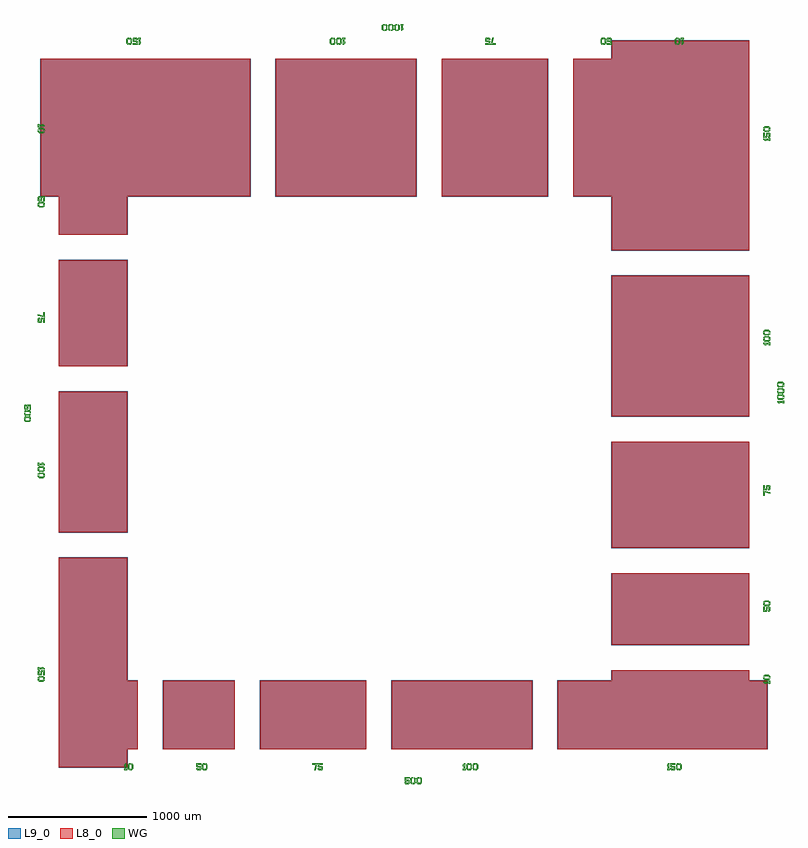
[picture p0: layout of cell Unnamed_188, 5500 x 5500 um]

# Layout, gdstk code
from math import pi, radians
import gdstk
lib = gdstk.Library(unit=1e-6, precision=1e-09)
def R(c, l, rs):  # rectangles x0, y0, x1, y1
    for r in rs: c.add(gdstk.rectangle(r[:2], r[2:], *l))
def P(c, l, *ps):  # polygons
    for p in ps: c.add(gdstk.Polygon(p, *l))
WG = (1, 0)
L8_0 = (8, 0)
L9_0 = (9, 0)

unnamed_187 = lib.new_cell('Unnamed_187')

unnamed_186 = lib.new_cell('Unnamed_186')

unnamed_184 = lib.new_cell('Unnamed_184')

unnamed_183 = lib.new_cell('Unnamed_183')

unnamed_182 = lib.new_cell('Unnamed_182')

text_t1000_s50_p0_0_jlef = lib.new_cell('text_T1000_S50_P0_0_Jleft_L1_0')
P(text_t1000_s50_p0_0_jlef, WG, [(48.5,0),(51,10),(55,10),(60,15),(60,35),(55,40),(57.5,50),(60,50),(70,40),(70,10),(60,0)],
  [(93.5,0),(96,10),(100,10),(105,15),(105,35),(100,40),(102.5,50),(105,50),(115,40),(115,10),(105,0)],
  [(138.5,0),(141,10),(145,10),(150,15),(150,35),(145,40),(147.5,50),(150,50),(160,40),(160,10),(150,0)],
  [(40,0),(30,10),(30,40),(40,50),(51.5,50),(49,40),(45,40),(40,35),(40,15),(45,10),(42.5,0)],
  [(85,0),(75,10),(75,40),(85,50),(96.5,50),(94,40),(90,40),(85,35),(85,15),(90,10),(87.5,0)],
  [(130,0),(120,10),(120,40),(130,50),(141.5,50),(139,40),(135,40),(130,35),(130,15),(135,10),(132.5,0)],
  [(5,0),(5,10),(10,10),(10,30),(5,30),(5,40),(15,50),(20,50),(20,10),(25,10),(25,0)])

rectangle_s1022_1000_l9_ = lib.new_cell('rectangle_S1022_1000_L9_34ee5ec5')
R(rectangle_s1022_1000_l9_, L9_0, [(0,0,1022,1000)])

text_t100_s50_p0_0_jleft = lib.new_cell('text_T100_S50_P0_0_Jleft_L1_0')
P(text_t100_s50_p0_0_jleft, WG, [(48.5,0),(51,10),(55,10),(60,15),(60,35),(55,40),(57.5,50),(60,50),(70,40),(70,10),(60,0)],
  [(93.5,0),(96,10),(100,10),(105,15),(105,35),(100,40),(102.5,50),(105,50),(115,40),(115,10),(105,0)],
  [(40,0),(30,10),(30,40),(40,50),(51.5,50),(49,40),(45,40),(40,35),(40,15),(45,10),(42.5,0)],
  [(85,0),(75,10),(75,40),(85,50),(96.5,50),(94,40),(90,40),(85,35),(85,15),(90,10),(87.5,0)],
  [(5,0),(5,10),(10,10),(10,30),(5,30),(5,40),(15,50),(20,50),(20,10),(25,10),(25,0)])

rectangle_s100_998_l8_0_ = lib.new_cell('rectangle_S100_998_L8_0_c306aa22')
R(rectangle_s100_998_l8_0_, L8_0, [(0,0,100,998)])

unnamed_175 = lib.new_cell('Unnamed_175')
unnamed_175.add(gdstk.Reference(rectangle_s1022_1000_l9_, (-47.455,0)))
unnamed_175.add(gdstk.Reference(text_t100_s50_p0_0_jleft, (465.545,-150)))
unnamed_175.add(gdstk.Reference(rectangle_s100_998_l8_0_, (-45.455,0)))
unnamed_175.add(gdstk.Reference(rectangle_s100_998_l8_0_, (56.545,0)))
unnamed_175.add(gdstk.Reference(rectangle_s100_998_l8_0_, (158.545,0)))
unnamed_175.add(gdstk.Reference(rectangle_s100_998_l8_0_, (260.545,0)))
unnamed_175.add(gdstk.Reference(rectangle_s100_998_l8_0_, (362.545,0)))
unnamed_175.add(gdstk.Reference(rectangle_s100_998_l8_0_, (464.545,0)))
unnamed_175.add(gdstk.Reference(rectangle_s100_998_l8_0_, (566.545,0)))
unnamed_175.add(gdstk.Reference(rectangle_s100_998_l8_0_, (668.545,0)))
unnamed_175.add(gdstk.Reference(rectangle_s100_998_l8_0_, (770.545,0)))
unnamed_175.add(gdstk.Reference(rectangle_s100_998_l8_0_, (872.545,0)))

rectangle_s1522_1000_l9_ = lib.new_cell('rectangle_S1522_1000_L9_b6fc3a18')
R(rectangle_s1522_1000_l9_, L9_0, [(0,0,1522,1000)])

text_t150_s50_p0_0_jleft = lib.new_cell('text_T150_S50_P0_0_Jleft_L1_0')
P(text_t150_s50_p0_0_jleft, WG, [(88.5,0),(91,10),(95,10),(100,15),(100,35),(95,40),(97.5,50),(100,50),(110,40),(110,10),(100,0)],
  [(80,0),(70,10),(70,40),(80,50),(91.5,50),(89,40),(85,40),(80,35),(80,15),(85,10),(82.5,0)],
  [(35,0),(30,5),(30,15),(40,15),(40,10),(55,10),(55,20),(35,20),(30,25),(30,50),(65,50),(65,40),(40,40),(40,30),(60,30),(65,25),(65,5),(60,0)],
  [(5,0),(5,10),(10,10),(10,30),(5,30),(5,40),(15,50),(20,50),(20,10),(25,10),(25,0)])

rectangle_s150_998_l8_0_ = lib.new_cell('rectangle_S150_998_L8_0_cd40ac17')
R(rectangle_s150_998_l8_0_, L8_0, [(0,0,150,998)])

unnamed_176 = lib.new_cell('Unnamed_176')
unnamed_176.add(gdstk.Reference(rectangle_s1522_1000_l9_, (-47.455,0)))
unnamed_176.add(gdstk.Reference(text_t150_s50_p0_0_jleft, (740.545,-150)))
unnamed_176.add(gdstk.Reference(rectangle_s150_998_l8_0_, (-45.455,0)))
unnamed_176.add(gdstk.Reference(rectangle_s150_998_l8_0_, (106.545,0)))
unnamed_176.add(gdstk.Reference(rectangle_s150_998_l8_0_, (258.545,0)))
unnamed_176.add(gdstk.Reference(rectangle_s150_998_l8_0_, (410.545,0)))
unnamed_176.add(gdstk.Reference(rectangle_s150_998_l8_0_, (562.545,0)))
unnamed_176.add(gdstk.Reference(rectangle_s150_998_l8_0_, (714.545,0)))
unnamed_176.add(gdstk.Reference(rectangle_s150_998_l8_0_, (866.545,0)))
unnamed_176.add(gdstk.Reference(rectangle_s150_998_l8_0_, (1018.545,0)))
unnamed_176.add(gdstk.Reference(rectangle_s150_998_l8_0_, (1170.545,0)))
unnamed_176.add(gdstk.Reference(rectangle_s150_998_l8_0_, (1322.545,0)))

rectangle_s772_1000_l9__ = lib.new_cell('rectangle_S772_1000_L9__6c6e360b')
R(rectangle_s772_1000_l9__, L9_0, [(0,0,772,1000)])

text_t75_s50_p0_0_jleft_ = lib.new_cell('text_T75_S50_P0_0_Jleft_L1_0')
P(text_t75_s50_p0_0_jleft_, WG, [(50,0),(45,5),(45,15),(55,15),(55,10),(70,10),(70,20),(50,20),(45,25),(45,50),(80,50),(80,40),(55,40),(55,30),(75,30),(80,25),(80,5),(75,0)],
  [(20,0),(28,40),(5,40),(5,50),(40,50),(30,0)])

rectangle_s75_998_l8_0__ = lib.new_cell('rectangle_S75_998_L8_0__cc8ebacf')
R(rectangle_s75_998_l8_0__, L8_0, [(0,0,75,998)])

unnamed_174 = lib.new_cell('Unnamed_174')
unnamed_174.add(gdstk.Reference(rectangle_s772_1000_l9__, (-47.455,0)))
unnamed_174.add(gdstk.Reference(text_t75_s50_p0_0_jleft_, (328.045,-150)))
unnamed_174.add(gdstk.Reference(rectangle_s75_998_l8_0__, (-45.455,0)))
unnamed_174.add(gdstk.Reference(rectangle_s75_998_l8_0__, (31.545,0)))
unnamed_174.add(gdstk.Reference(rectangle_s75_998_l8_0__, (108.545,0)))
unnamed_174.add(gdstk.Reference(rectangle_s75_998_l8_0__, (185.545,0)))
unnamed_174.add(gdstk.Reference(rectangle_s75_998_l8_0__, (262.545,0)))
unnamed_174.add(gdstk.Reference(rectangle_s75_998_l8_0__, (339.545,0)))
unnamed_174.add(gdstk.Reference(rectangle_s75_998_l8_0__, (416.545,0)))
unnamed_174.add(gdstk.Reference(rectangle_s75_998_l8_0__, (493.545,0)))
unnamed_174.add(gdstk.Reference(rectangle_s75_998_l8_0__, (570.545,0)))
unnamed_174.add(gdstk.Reference(rectangle_s75_998_l8_0__, (647.545,0)))

rectangle_s522_1000_l9__ = lib.new_cell('rectangle_S522_1000_L9__e8a8a2df')
R(rectangle_s522_1000_l9__, L9_0, [(0,0,522,1000)])

text_t50_s50_p0_0_jleft_ = lib.new_cell('text_T50_S50_P0_0_Jleft_L1_0')
P(text_t50_s50_p0_0_jleft_, WG, [(63.5,0),(66,10),(70,10),(75,15),(75,35),(70,40),(72.5,50),(75,50),(85,40),(85,10),(75,0)],
  [(55,0),(45,10),(45,40),(55,50),(66.5,50),(64,40),(60,40),(55,35),(55,15),(60,10),(57.5,0)],
  [(10,0),(5,5),(5,15),(15,15),(15,10),(30,10),(30,20),(10,20),(5,25),(5,50),(40,50),(40,40),(15,40),(15,30),(35,30),(40,25),(40,5),(35,0)])

rectangle_s50_998_l8_0__ = lib.new_cell('rectangle_S50_998_L8_0__a3cc393b')
R(rectangle_s50_998_l8_0__, L8_0, [(0,0,50,998)])

unnamed_173 = lib.new_cell('Unnamed_173')
unnamed_173.add(gdstk.Reference(rectangle_s522_1000_l9__, (-47.455,0)))
unnamed_173.add(gdstk.Reference(text_t50_s50_p0_0_jleft_, (190.545,-150)))
unnamed_173.add(gdstk.Reference(rectangle_s50_998_l8_0__, (-45.455,0)))
unnamed_173.add(gdstk.Reference(rectangle_s50_998_l8_0__, (6.545,0)))
unnamed_173.add(gdstk.Reference(rectangle_s50_998_l8_0__, (58.545,0)))
unnamed_173.add(gdstk.Reference(rectangle_s50_998_l8_0__, (110.545,0)))
unnamed_173.add(gdstk.Reference(rectangle_s50_998_l8_0__, (162.545,0)))
unnamed_173.add(gdstk.Reference(rectangle_s50_998_l8_0__, (214.545,0)))
unnamed_173.add(gdstk.Reference(rectangle_s50_998_l8_0__, (266.545,0)))
unnamed_173.add(gdstk.Reference(rectangle_s50_998_l8_0__, (318.545,0)))
unnamed_173.add(gdstk.Reference(rectangle_s50_998_l8_0__, (370.545,0)))
unnamed_173.add(gdstk.Reference(rectangle_s50_998_l8_0__, (422.545,0)))

rectangle_s122_1000_l9__ = lib.new_cell('rectangle_S122_1000_L9__1de77251')
R(rectangle_s122_1000_l9__, L9_0, [(0,0,122,1000)])

text_t10_s50_p0_0_jleft_ = lib.new_cell('text_T10_S50_P0_0_Jleft_L1_0')
P(text_t10_s50_p0_0_jleft_, WG, [(48.5,0),(51,10),(55,10),(60,15),(60,35),(55,40),(57.5,50),(60,50),(70,40),(70,10),(60,0)],
  [(40,0),(30,10),(30,40),(40,50),(51.5,50),(49,40),(45,40),(40,35),(40,15),(45,10),(42.5,0)],
  [(5,0),(5,10),(10,10),(10,30),(5,30),(5,40),(15,50),(20,50),(20,10),(25,10),(25,0)])

rectangle_s10_998_l8_0__ = lib.new_cell('rectangle_S10_998_L8_0__618c10ad')
R(rectangle_s10_998_l8_0__, L8_0, [(0,0,10,998)])

unnamed_172 = lib.new_cell('Unnamed_172')
unnamed_172.add(gdstk.Reference(rectangle_s122_1000_l9__, (-47.455,0)))
unnamed_172.add(gdstk.Reference(text_t10_s50_p0_0_jleft_, (-29.455,-150)))
unnamed_172.add(gdstk.Reference(rectangle_s10_998_l8_0__, (-45.455,0)))
unnamed_172.add(gdstk.Reference(rectangle_s10_998_l8_0__, (-33.455,0)))
unnamed_172.add(gdstk.Reference(rectangle_s10_998_l8_0__, (-21.455,0)))
unnamed_172.add(gdstk.Reference(rectangle_s10_998_l8_0__, (-9.455,0)))
unnamed_172.add(gdstk.Reference(rectangle_s10_998_l8_0__, (2.545,0)))
unnamed_172.add(gdstk.Reference(rectangle_s10_998_l8_0__, (14.545,0)))
unnamed_172.add(gdstk.Reference(rectangle_s10_998_l8_0__, (26.545,0)))
unnamed_172.add(gdstk.Reference(rectangle_s10_998_l8_0__, (38.545,0)))
unnamed_172.add(gdstk.Reference(rectangle_s10_998_l8_0__, (50.545,0)))
unnamed_172.add(gdstk.Reference(rectangle_s10_998_l8_0__, (62.545,0)))

unnamed_180 = lib.new_cell('Unnamed_180')
unnamed_180.add(gdstk.Reference(text_t1000_s50_p0_0_jlef, (2500,-250)))
unnamed_180.add(gdstk.Reference(unnamed_175, (2456,0)))
unnamed_180.add(gdstk.Reference(unnamed_176, (3658,0)))
unnamed_180.add(gdstk.Reference(unnamed_174, (1504,0)))
unnamed_180.add(gdstk.Reference(unnamed_173, (802,0)))
unnamed_180.add(gdstk.Reference(unnamed_172, (500,0)))

unnamed_166 = lib.new_cell('Unnamed_166')
unnamed_166.add(gdstk.Reference(rectangle_s1522_1000_l9_, (-47.455,0)))
unnamed_166.add(gdstk.Reference(text_t150_s50_p0_0_jleft, (740.545,-150)))
unnamed_166.add(gdstk.Reference(rectangle_s150_998_l8_0_, (-45.455,0)))
unnamed_166.add(gdstk.Reference(rectangle_s150_998_l8_0_, (106.545,0)))
unnamed_166.add(gdstk.Reference(rectangle_s150_998_l8_0_, (258.545,0)))
unnamed_166.add(gdstk.Reference(rectangle_s150_998_l8_0_, (410.545,0)))
unnamed_166.add(gdstk.Reference(rectangle_s150_998_l8_0_, (562.545,0)))
unnamed_166.add(gdstk.Reference(rectangle_s150_998_l8_0_, (714.545,0)))
unnamed_166.add(gdstk.Reference(rectangle_s150_998_l8_0_, (866.545,0)))
unnamed_166.add(gdstk.Reference(rectangle_s150_998_l8_0_, (1018.545,0)))
unnamed_166.add(gdstk.Reference(rectangle_s150_998_l8_0_, (1170.545,0)))
unnamed_166.add(gdstk.Reference(rectangle_s150_998_l8_0_, (1322.545,0)))

unnamed_165 = lib.new_cell('Unnamed_165')
unnamed_165.add(gdstk.Reference(rectangle_s1022_1000_l9_, (-47.455,0)))
unnamed_165.add(gdstk.Reference(text_t100_s50_p0_0_jleft, (465.545,-150)))
unnamed_165.add(gdstk.Reference(rectangle_s100_998_l8_0_, (-45.455,0)))
unnamed_165.add(gdstk.Reference(rectangle_s100_998_l8_0_, (56.545,0)))
unnamed_165.add(gdstk.Reference(rectangle_s100_998_l8_0_, (158.545,0)))
unnamed_165.add(gdstk.Reference(rectangle_s100_998_l8_0_, (260.545,0)))
unnamed_165.add(gdstk.Reference(rectangle_s100_998_l8_0_, (362.545,0)))
unnamed_165.add(gdstk.Reference(rectangle_s100_998_l8_0_, (464.545,0)))
unnamed_165.add(gdstk.Reference(rectangle_s100_998_l8_0_, (566.545,0)))
unnamed_165.add(gdstk.Reference(rectangle_s100_998_l8_0_, (668.545,0)))
unnamed_165.add(gdstk.Reference(rectangle_s100_998_l8_0_, (770.545,0)))
unnamed_165.add(gdstk.Reference(rectangle_s100_998_l8_0_, (872.545,0)))

unnamed_164 = lib.new_cell('Unnamed_164')
unnamed_164.add(gdstk.Reference(rectangle_s772_1000_l9__, (-47.455,0)))
unnamed_164.add(gdstk.Reference(text_t75_s50_p0_0_jleft_, (328.045,-150)))
unnamed_164.add(gdstk.Reference(rectangle_s75_998_l8_0__, (-45.455,0)))
unnamed_164.add(gdstk.Reference(rectangle_s75_998_l8_0__, (31.545,0)))
unnamed_164.add(gdstk.Reference(rectangle_s75_998_l8_0__, (108.545,0)))
unnamed_164.add(gdstk.Reference(rectangle_s75_998_l8_0__, (185.545,0)))
unnamed_164.add(gdstk.Reference(rectangle_s75_998_l8_0__, (262.545,0)))
unnamed_164.add(gdstk.Reference(rectangle_s75_998_l8_0__, (339.545,0)))
unnamed_164.add(gdstk.Reference(rectangle_s75_998_l8_0__, (416.545,0)))
unnamed_164.add(gdstk.Reference(rectangle_s75_998_l8_0__, (493.545,0)))
unnamed_164.add(gdstk.Reference(rectangle_s75_998_l8_0__, (570.545,0)))
unnamed_164.add(gdstk.Reference(rectangle_s75_998_l8_0__, (647.545,0)))

unnamed_163 = lib.new_cell('Unnamed_163')
unnamed_163.add(gdstk.Reference(rectangle_s522_1000_l9__, (-47.455,0)))
unnamed_163.add(gdstk.Reference(text_t50_s50_p0_0_jleft_, (190.545,-150)))
unnamed_163.add(gdstk.Reference(rectangle_s50_998_l8_0__, (-45.455,0)))
unnamed_163.add(gdstk.Reference(rectangle_s50_998_l8_0__, (6.545,0)))
unnamed_163.add(gdstk.Reference(rectangle_s50_998_l8_0__, (58.545,0)))
unnamed_163.add(gdstk.Reference(rectangle_s50_998_l8_0__, (110.545,0)))
unnamed_163.add(gdstk.Reference(rectangle_s50_998_l8_0__, (162.545,0)))
unnamed_163.add(gdstk.Reference(rectangle_s50_998_l8_0__, (214.545,0)))
unnamed_163.add(gdstk.Reference(rectangle_s50_998_l8_0__, (266.545,0)))
unnamed_163.add(gdstk.Reference(rectangle_s50_998_l8_0__, (318.545,0)))
unnamed_163.add(gdstk.Reference(rectangle_s50_998_l8_0__, (370.545,0)))
unnamed_163.add(gdstk.Reference(rectangle_s50_998_l8_0__, (422.545,0)))

unnamed_162 = lib.new_cell('Unnamed_162')
unnamed_162.add(gdstk.Reference(rectangle_s122_1000_l9__, (-47.455,0)))
unnamed_162.add(gdstk.Reference(text_t10_s50_p0_0_jleft_, (-29.455,-150)))
unnamed_162.add(gdstk.Reference(rectangle_s10_998_l8_0__, (-45.455,0)))
unnamed_162.add(gdstk.Reference(rectangle_s10_998_l8_0__, (-33.455,0)))
unnamed_162.add(gdstk.Reference(rectangle_s10_998_l8_0__, (-21.455,0)))
unnamed_162.add(gdstk.Reference(rectangle_s10_998_l8_0__, (-9.455,0)))
unnamed_162.add(gdstk.Reference(rectangle_s10_998_l8_0__, (2.545,0)))
unnamed_162.add(gdstk.Reference(rectangle_s10_998_l8_0__, (14.545,0)))
unnamed_162.add(gdstk.Reference(rectangle_s10_998_l8_0__, (26.545,0)))
unnamed_162.add(gdstk.Reference(rectangle_s10_998_l8_0__, (38.545,0)))
unnamed_162.add(gdstk.Reference(rectangle_s10_998_l8_0__, (50.545,0)))
unnamed_162.add(gdstk.Reference(rectangle_s10_998_l8_0__, (62.545,0)))

unnamed_178 = lib.new_cell('Unnamed_178')
unnamed_178.add(gdstk.Reference(unnamed_166, (3658,0)))
unnamed_178.add(gdstk.Reference(text_t1000_s50_p0_0_jlef, (2500,-250)))
unnamed_178.add(gdstk.Reference(unnamed_165, (2456,0)))
unnamed_178.add(gdstk.Reference(unnamed_164, (1504,0)))
unnamed_178.add(gdstk.Reference(unnamed_163, (802,0)))
unnamed_178.add(gdstk.Reference(unnamed_162, (500,0)))

unnamed_181 = lib.new_cell('Unnamed_181')

unnamed_185 = lib.new_cell('Unnamed_185')

rectangle_s1522_500_l9__ = lib.new_cell('rectangle_S1522_500_L9__e665eb4e')
R(rectangle_s1522_500_l9__, L9_0, [(0,0,1522,500)])

rectangle_s150_498_l8_0_ = lib.new_cell('rectangle_S150_498_L8_0_3344f8a4')
R(rectangle_s150_498_l8_0_, L8_0, [(0,0,150,498)])

unnamed_171 = lib.new_cell('Unnamed_171')
unnamed_171.add(gdstk.Reference(rectangle_s1522_500_l9__, (-47.455,0)))
unnamed_171.add(gdstk.Reference(text_t150_s50_p0_0_jleft, (740.545,-150)))
unnamed_171.add(gdstk.Reference(rectangle_s150_498_l8_0_, (-45.455,0)))
unnamed_171.add(gdstk.Reference(rectangle_s150_498_l8_0_, (106.545,0)))
unnamed_171.add(gdstk.Reference(rectangle_s150_498_l8_0_, (258.545,0)))
unnamed_171.add(gdstk.Reference(rectangle_s150_498_l8_0_, (410.545,0)))
unnamed_171.add(gdstk.Reference(rectangle_s150_498_l8_0_, (562.545,0)))
unnamed_171.add(gdstk.Reference(rectangle_s150_498_l8_0_, (714.545,0)))
unnamed_171.add(gdstk.Reference(rectangle_s150_498_l8_0_, (866.545,0)))
unnamed_171.add(gdstk.Reference(rectangle_s150_498_l8_0_, (1018.545,0)))
unnamed_171.add(gdstk.Reference(rectangle_s150_498_l8_0_, (1170.545,0)))
unnamed_171.add(gdstk.Reference(rectangle_s150_498_l8_0_, (1322.545,0)))

rectangle_s1022_500_l9__ = lib.new_cell('rectangle_S1022_500_L9__7b66dc4e')
R(rectangle_s1022_500_l9__, L9_0, [(0,0,1022,500)])

rectangle_s100_498_l8_0_ = lib.new_cell('rectangle_S100_498_L8_0_8e44272a')
R(rectangle_s100_498_l8_0_, L8_0, [(0,0,100,498)])

unnamed_170 = lib.new_cell('Unnamed_170')
unnamed_170.add(gdstk.Reference(rectangle_s1022_500_l9__, (-47.455,0)))
unnamed_170.add(gdstk.Reference(text_t100_s50_p0_0_jleft, (465.545,-150)))
unnamed_170.add(gdstk.Reference(rectangle_s100_498_l8_0_, (-45.455,0)))
unnamed_170.add(gdstk.Reference(rectangle_s100_498_l8_0_, (56.545,0)))
unnamed_170.add(gdstk.Reference(rectangle_s100_498_l8_0_, (158.545,0)))
unnamed_170.add(gdstk.Reference(rectangle_s100_498_l8_0_, (260.545,0)))
unnamed_170.add(gdstk.Reference(rectangle_s100_498_l8_0_, (362.545,0)))
unnamed_170.add(gdstk.Reference(rectangle_s100_498_l8_0_, (464.545,0)))
unnamed_170.add(gdstk.Reference(rectangle_s100_498_l8_0_, (566.545,0)))
unnamed_170.add(gdstk.Reference(rectangle_s100_498_l8_0_, (668.545,0)))
unnamed_170.add(gdstk.Reference(rectangle_s100_498_l8_0_, (770.545,0)))
unnamed_170.add(gdstk.Reference(rectangle_s100_498_l8_0_, (872.545,0)))

text_t500_s50_p0_0_jleft = lib.new_cell('text_T500_S50_P0_0_Jleft_L1_0')
P(text_t500_s50_p0_0_jleft, WG, [(63.5,0),(66,10),(70,10),(75,15),(75,35),(70,40),(72.5,50),(75,50),(85,40),(85,10),(75,0)],
  [(108.5,0),(111,10),(115,10),(120,15),(120,35),(115,40),(117.5,50),(120,50),(130,40),(130,10),(120,0)],
  [(55,0),(45,10),(45,40),(55,50),(66.5,50),(64,40),(60,40),(55,35),(55,15),(60,10),(57.5,0)],
  [(100,0),(90,10),(90,40),(100,50),(111.5,50),(109,40),(105,40),(100,35),(100,15),(105,10),(102.5,0)],
  [(10,0),(5,5),(5,15),(15,15),(15,10),(30,10),(30,20),(10,20),(5,25),(5,50),(40,50),(40,40),(15,40),(15,30),(35,30),(40,25),(40,5),(35,0)])

rectangle_s772_500_l9_0_ = lib.new_cell('rectangle_S772_500_L9_0_f8fbfb8e')
R(rectangle_s772_500_l9_0_, L9_0, [(0,0,772,500)])

rectangle_s75_498_l8_0__ = lib.new_cell('rectangle_S75_498_L8_0__5f6cecd9')
R(rectangle_s75_498_l8_0__, L8_0, [(0,0,75,498)])

unnamed_169 = lib.new_cell('Unnamed_169')
unnamed_169.add(gdstk.Reference(rectangle_s772_500_l9_0_, (-47.455,0)))
unnamed_169.add(gdstk.Reference(text_t75_s50_p0_0_jleft_, (328.045,-150)))
unnamed_169.add(gdstk.Reference(rectangle_s75_498_l8_0__, (-45.455,0)))
unnamed_169.add(gdstk.Reference(rectangle_s75_498_l8_0__, (31.545,0)))
unnamed_169.add(gdstk.Reference(rectangle_s75_498_l8_0__, (108.545,0)))
unnamed_169.add(gdstk.Reference(rectangle_s75_498_l8_0__, (185.545,0)))
unnamed_169.add(gdstk.Reference(rectangle_s75_498_l8_0__, (262.545,0)))
unnamed_169.add(gdstk.Reference(rectangle_s75_498_l8_0__, (339.545,0)))
unnamed_169.add(gdstk.Reference(rectangle_s75_498_l8_0__, (416.545,0)))
unnamed_169.add(gdstk.Reference(rectangle_s75_498_l8_0__, (493.545,0)))
unnamed_169.add(gdstk.Reference(rectangle_s75_498_l8_0__, (570.545,0)))
unnamed_169.add(gdstk.Reference(rectangle_s75_498_l8_0__, (647.545,0)))

rectangle_s522_500_l9_0_ = lib.new_cell('rectangle_S522_500_L9_0_2f4601c8')
R(rectangle_s522_500_l9_0_, L9_0, [(0,0,522,500)])

rectangle_s50_498_l8_0__ = lib.new_cell('rectangle_S50_498_L8_0__cadecadc')
R(rectangle_s50_498_l8_0__, L8_0, [(0,0,50,498)])

unnamed_168 = lib.new_cell('Unnamed_168')
unnamed_168.add(gdstk.Reference(rectangle_s522_500_l9_0_, (-47.455,0)))
unnamed_168.add(gdstk.Reference(text_t50_s50_p0_0_jleft_, (190.545,-150)))
unnamed_168.add(gdstk.Reference(rectangle_s50_498_l8_0__, (-45.455,0)))
unnamed_168.add(gdstk.Reference(rectangle_s50_498_l8_0__, (6.545,0)))
unnamed_168.add(gdstk.Reference(rectangle_s50_498_l8_0__, (58.545,0)))
unnamed_168.add(gdstk.Reference(rectangle_s50_498_l8_0__, (110.545,0)))
unnamed_168.add(gdstk.Reference(rectangle_s50_498_l8_0__, (162.545,0)))
unnamed_168.add(gdstk.Reference(rectangle_s50_498_l8_0__, (214.545,0)))
unnamed_168.add(gdstk.Reference(rectangle_s50_498_l8_0__, (266.545,0)))
unnamed_168.add(gdstk.Reference(rectangle_s50_498_l8_0__, (318.545,0)))
unnamed_168.add(gdstk.Reference(rectangle_s50_498_l8_0__, (370.545,0)))
unnamed_168.add(gdstk.Reference(rectangle_s50_498_l8_0__, (422.545,0)))

rectangle_s122_500_l9_0_ = lib.new_cell('rectangle_S122_500_L9_0_ffbf6d70')
R(rectangle_s122_500_l9_0_, L9_0, [(0,0,122,500)])

rectangle_s10_498_l8_0__ = lib.new_cell('rectangle_S10_498_L8_0__ad3ec932')
R(rectangle_s10_498_l8_0__, L8_0, [(0,0,10,498)])

unnamed_167 = lib.new_cell('Unnamed_167')
unnamed_167.add(gdstk.Reference(text_t10_s50_p0_0_jleft_, (-29.455,-150)))
unnamed_167.add(gdstk.Reference(rectangle_s122_500_l9_0_, (-47.455,0)))
unnamed_167.add(gdstk.Reference(rectangle_s10_498_l8_0__, (-45.455,0)))
unnamed_167.add(gdstk.Reference(rectangle_s10_498_l8_0__, (-33.455,0)))
unnamed_167.add(gdstk.Reference(rectangle_s10_498_l8_0__, (-21.455,0)))
unnamed_167.add(gdstk.Reference(rectangle_s10_498_l8_0__, (-9.455,0)))
unnamed_167.add(gdstk.Reference(rectangle_s10_498_l8_0__, (2.545,0)))
unnamed_167.add(gdstk.Reference(rectangle_s10_498_l8_0__, (14.545,0)))
unnamed_167.add(gdstk.Reference(rectangle_s10_498_l8_0__, (26.545,0)))
unnamed_167.add(gdstk.Reference(rectangle_s10_498_l8_0__, (38.545,0)))
unnamed_167.add(gdstk.Reference(rectangle_s10_498_l8_0__, (50.545,0)))
unnamed_167.add(gdstk.Reference(rectangle_s10_498_l8_0__, (62.545,0)))

unnamed_179 = lib.new_cell('Unnamed_179')
unnamed_179.add(gdstk.Reference(unnamed_171, (3658,0)))
unnamed_179.add(gdstk.Reference(unnamed_170, (2456,0)))
unnamed_179.add(gdstk.Reference(text_t500_s50_p0_0_jleft, (2500,-250)))
unnamed_179.add(gdstk.Reference(unnamed_169, (1504,0)))
unnamed_179.add(gdstk.Reference(unnamed_168, (802,0)))
unnamed_179.add(gdstk.Reference(unnamed_167, (500,0)))

unnamed_158 = lib.new_cell('Unnamed_158')
unnamed_158.add(gdstk.Reference(rectangle_s522_500_l9_0_, (-47.455,0)))
unnamed_158.add(gdstk.Reference(text_t50_s50_p0_0_jleft_, (190.545,-150)))
unnamed_158.add(gdstk.Reference(rectangle_s50_498_l8_0__, (-45.455,0)))
unnamed_158.add(gdstk.Reference(rectangle_s50_498_l8_0__, (6.545,0)))
unnamed_158.add(gdstk.Reference(rectangle_s50_498_l8_0__, (58.545,0)))
unnamed_158.add(gdstk.Reference(rectangle_s50_498_l8_0__, (110.545,0)))
unnamed_158.add(gdstk.Reference(rectangle_s50_498_l8_0__, (162.545,0)))
unnamed_158.add(gdstk.Reference(rectangle_s50_498_l8_0__, (214.545,0)))
unnamed_158.add(gdstk.Reference(rectangle_s50_498_l8_0__, (266.545,0)))
unnamed_158.add(gdstk.Reference(rectangle_s50_498_l8_0__, (318.545,0)))
unnamed_158.add(gdstk.Reference(rectangle_s50_498_l8_0__, (370.545,0)))
unnamed_158.add(gdstk.Reference(rectangle_s50_498_l8_0__, (422.545,0)))

unnamed_160 = lib.new_cell('Unnamed_160')
unnamed_160.add(gdstk.Reference(rectangle_s1022_500_l9__, (-47.455,0)))
unnamed_160.add(gdstk.Reference(text_t100_s50_p0_0_jleft, (465.545,-150)))
unnamed_160.add(gdstk.Reference(rectangle_s100_498_l8_0_, (-45.455,0)))
unnamed_160.add(gdstk.Reference(rectangle_s100_498_l8_0_, (56.545,0)))
unnamed_160.add(gdstk.Reference(rectangle_s100_498_l8_0_, (158.545,0)))
unnamed_160.add(gdstk.Reference(rectangle_s100_498_l8_0_, (260.545,0)))
unnamed_160.add(gdstk.Reference(rectangle_s100_498_l8_0_, (362.545,0)))
unnamed_160.add(gdstk.Reference(rectangle_s100_498_l8_0_, (464.545,0)))
unnamed_160.add(gdstk.Reference(rectangle_s100_498_l8_0_, (566.545,0)))
unnamed_160.add(gdstk.Reference(rectangle_s100_498_l8_0_, (668.545,0)))
unnamed_160.add(gdstk.Reference(rectangle_s100_498_l8_0_, (770.545,0)))
unnamed_160.add(gdstk.Reference(rectangle_s100_498_l8_0_, (872.545,0)))

unnamed_159 = lib.new_cell('Unnamed_159')
unnamed_159.add(gdstk.Reference(rectangle_s772_500_l9_0_, (-47.455,0)))
unnamed_159.add(gdstk.Reference(text_t75_s50_p0_0_jleft_, (328.045,-150)))
unnamed_159.add(gdstk.Reference(rectangle_s75_498_l8_0__, (-45.455,0)))
unnamed_159.add(gdstk.Reference(rectangle_s75_498_l8_0__, (31.545,0)))
unnamed_159.add(gdstk.Reference(rectangle_s75_498_l8_0__, (108.545,0)))
unnamed_159.add(gdstk.Reference(rectangle_s75_498_l8_0__, (185.545,0)))
unnamed_159.add(gdstk.Reference(rectangle_s75_498_l8_0__, (262.545,0)))
unnamed_159.add(gdstk.Reference(rectangle_s75_498_l8_0__, (339.545,0)))
unnamed_159.add(gdstk.Reference(rectangle_s75_498_l8_0__, (416.545,0)))
unnamed_159.add(gdstk.Reference(rectangle_s75_498_l8_0__, (493.545,0)))
unnamed_159.add(gdstk.Reference(rectangle_s75_498_l8_0__, (570.545,0)))
unnamed_159.add(gdstk.Reference(rectangle_s75_498_l8_0__, (647.545,0)))

unnamed_161 = lib.new_cell('Unnamed_161')
unnamed_161.add(gdstk.Reference(rectangle_s1522_500_l9__, (-47.455,0)))
unnamed_161.add(gdstk.Reference(text_t150_s50_p0_0_jleft, (740.545,-150)))
unnamed_161.add(gdstk.Reference(rectangle_s150_498_l8_0_, (-45.455,0)))
unnamed_161.add(gdstk.Reference(rectangle_s150_498_l8_0_, (106.545,0)))
unnamed_161.add(gdstk.Reference(rectangle_s150_498_l8_0_, (258.545,0)))
unnamed_161.add(gdstk.Reference(rectangle_s150_498_l8_0_, (410.545,0)))
unnamed_161.add(gdstk.Reference(rectangle_s150_498_l8_0_, (562.545,0)))
unnamed_161.add(gdstk.Reference(rectangle_s150_498_l8_0_, (714.545,0)))
unnamed_161.add(gdstk.Reference(rectangle_s150_498_l8_0_, (866.545,0)))
unnamed_161.add(gdstk.Reference(rectangle_s150_498_l8_0_, (1018.545,0)))
unnamed_161.add(gdstk.Reference(rectangle_s150_498_l8_0_, (1170.545,0)))
unnamed_161.add(gdstk.Reference(rectangle_s150_498_l8_0_, (1322.545,0)))

unnamed_157 = lib.new_cell('Unnamed_157')
unnamed_157.add(gdstk.Reference(text_t10_s50_p0_0_jleft_, (-29.455,-150)))
unnamed_157.add(gdstk.Reference(rectangle_s122_500_l9_0_, (-47.455,0)))
unnamed_157.add(gdstk.Reference(rectangle_s10_498_l8_0__, (-45.455,0)))
unnamed_157.add(gdstk.Reference(rectangle_s10_498_l8_0__, (-33.455,0)))
unnamed_157.add(gdstk.Reference(rectangle_s10_498_l8_0__, (-21.455,0)))
unnamed_157.add(gdstk.Reference(rectangle_s10_498_l8_0__, (-9.455,0)))
unnamed_157.add(gdstk.Reference(rectangle_s10_498_l8_0__, (2.545,0)))
unnamed_157.add(gdstk.Reference(rectangle_s10_498_l8_0__, (14.545,0)))
unnamed_157.add(gdstk.Reference(rectangle_s10_498_l8_0__, (26.545,0)))
unnamed_157.add(gdstk.Reference(rectangle_s10_498_l8_0__, (38.545,0)))
unnamed_157.add(gdstk.Reference(rectangle_s10_498_l8_0__, (50.545,0)))
unnamed_157.add(gdstk.Reference(rectangle_s10_498_l8_0__, (62.545,0)))

unnamed_177 = lib.new_cell('Unnamed_177')
unnamed_177.add(gdstk.Reference(text_t500_s50_p0_0_jleft, (2500,-250)))
unnamed_177.add(gdstk.Reference(unnamed_158, (802,0)))
unnamed_177.add(gdstk.Reference(unnamed_160, (2456,0)))
unnamed_177.add(gdstk.Reference(unnamed_159, (1504,0)))
unnamed_177.add(gdstk.Reference(unnamed_161, (3658,0)))
unnamed_177.add(gdstk.Reference(unnamed_157, (500,0)))

unnamed_188 = lib.new_cell('Unnamed_188')
unnamed_188.add(gdstk.Reference(unnamed_187, (5000,0), rotation=pi/2))
unnamed_188.add(gdstk.Reference(unnamed_186, (5000,0), rotation=pi/2))
unnamed_188.add(gdstk.Reference(unnamed_184, (5000,0), rotation=pi/2))
unnamed_188.add(gdstk.Reference(unnamed_183, (5000,0), rotation=pi/2))
unnamed_188.add(gdstk.Reference(unnamed_182, (5000,0), rotation=pi/2))
unnamed_188.add(gdstk.Reference(unnamed_180, (5000,0), rotation=pi/2))
unnamed_188.add(gdstk.Reference(unnamed_178, (5000,5000), rotation=pi))
unnamed_188.add(gdstk.Reference(unnamed_181, (5000,0), rotation=pi/2))
unnamed_188.add(gdstk.Reference(unnamed_185, (5000,0), rotation=pi/2))
unnamed_188.add(gdstk.Reference(unnamed_179, (0,5000), rotation=3*pi/2))
unnamed_188.add(gdstk.Reference(unnamed_177, (0,0)))

lib.write_gds('Unnamed_188.gds')
